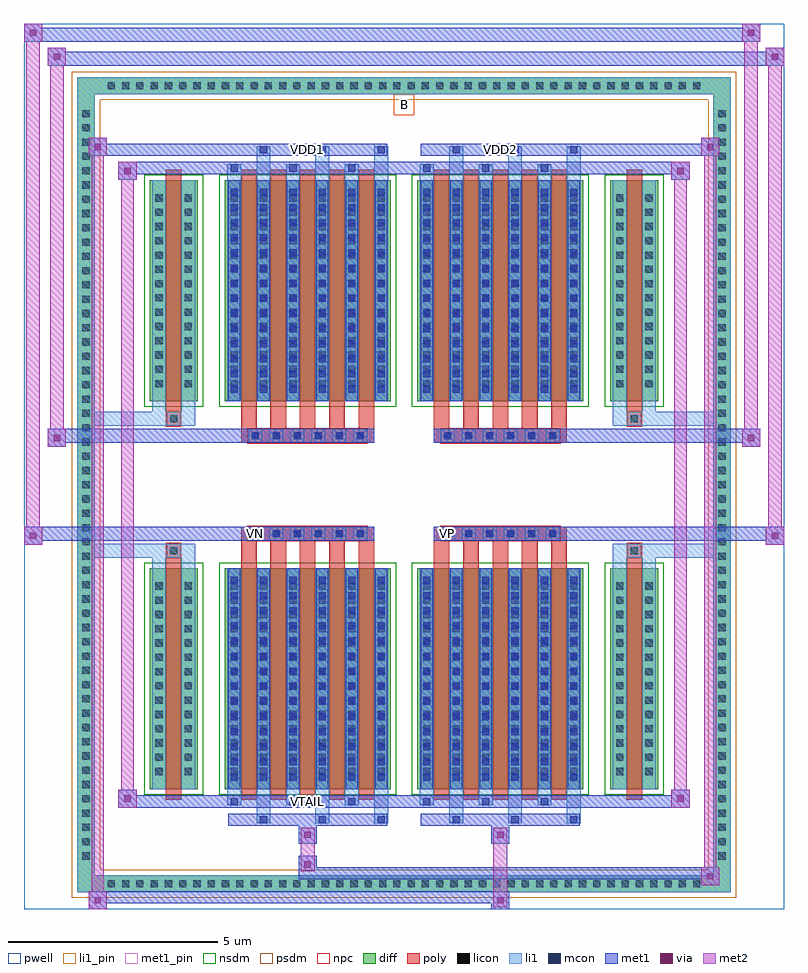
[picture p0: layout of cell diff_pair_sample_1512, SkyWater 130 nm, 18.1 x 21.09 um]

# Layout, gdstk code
import gdstk
lib = gdstk.Library(unit=1e-6, precision=5e-09)
def R(c, l, rs):  # rectangles x0, y0, x1, y1
    for r in rs: c.add(gdstk.rectangle(r[:2], r[2:], *l))
def A(c, l, x, y, w, h, nx, ny, dx, dy):  # array of equal rectangles
    R(c, l, [(x+i*dx, y+j*dy, x+i*dx+w, y+j*dy+h) for i in range(nx) for j in range(ny)])
def P(c, l, *ps):  # polygons
    for p in ps: c.add(gdstk.Polygon(p, *l))
pwell = (64, 44)
diff = (65, 20)
poly = (66, 20)
licon = (66, 44)
li1_pin = (67, 16)
li1 = (67, 20)
mcon = (67, 44)
met1_pin = (68, 16)
met1 = (68, 20)
via = (68, 44)
met2 = (69, 20)
nsdm = (93, 44)
psdm = (94, 20)
npc = (95, 20)

diff_pair_sample_1512 = lib.new_cell('diff_pair_sample_1512')
R(diff_pair_sample_1512, pwell, [(-9.05,-10.11,9.05,10.98), (-6.37,-8.3,-0.01,-0.8), (0.01,-8.3,6.37,-0.8), (-6.37,0.8,-0.01,8.3), (0.01,0.8,6.37,8.3)])
A(diff_pair_sample_1512, diff, -7.175, -9.71, 0.41, 0.41, 42, 2, 0.34, 19.01)
A(diff_pair_sample_1512, diff, -7.78, -9.045, 0.41, 0.41, 1, 53, 0, 0.34)
A(diff_pair_sample_1512, diff, 7.37, -9.045, 0.41, 0.41, 1, 53, 0, 0.34)
R(diff_pair_sample_1512, diff, [(-7.175,-9.71,7.175,-9.3), (-7.78,-9.045,-7.37,9.045), (7.37,-9.045,7.78,9.045), (-6.06,-7.255,-4.91,-1.985), (-4.27,-7.255,-0.32,-1.985), (0.32,-7.255,4.27,-1.985), (4.91,-7.255,6.06,-1.985), (-6.06,1.985,-4.91,7.255), (-4.27,1.985,-0.32,7.255), (0.32,1.985,4.27,7.255), (4.91,1.985,6.06,7.255), (-7.175,9.3,7.175,9.71)])
P(diff_pair_sample_1512, diff, [(7.78,9.71),(-7.78,9.71),(-7.78,-9.3),(-7.37,-9.3),(-7.37,9.3),(7.37,9.3),(7.37,-9.3),(-7.37,-9.3),(-7.78,-9.3),(-7.78,-9.71),(7.78,-9.71)])
A(diff_pair_sample_1512, poly, -3.88, -7.505, 0.37, 5.77, 5, 2, 0.7, 9.24)
A(diff_pair_sample_1512, poly, 0.71, -7.505, 0.37, 5.77, 5, 2, 0.7, 9.24)
A(diff_pair_sample_1512, poly, -3.88, -1.735, 0.37, 0.405, 5, 2, 0.7, 3.065)
A(diff_pair_sample_1512, poly, 0.71, -1.735, 0.37, 0.405, 5, 2, 0.7, 3.065)
A(diff_pair_sample_1512, poly, -3.71, -1.33, 0.33, 0.33, 6, 2, 0.5, 2.33)
A(diff_pair_sample_1512, poly, 0.88, -1.33, 0.33, 0.33, 6, 2, 0.5, 2.33)
R(diff_pair_sample_1512, poly, [(-5.67,-7.505,-5.3,-1.735), (5.3,-7.505,5.67,-1.735), (-5.65,-1.735,-5.32,-1.405), (-5.65,-1.735,-5.32,-1.405), (5.32,-1.735,5.65,-1.405), (5.32,-1.735,5.65,-1.405), (-3.88,-1.33,-0.71,-1), (0.71,-1.33,3.88,-1), (-3.88,1,-0.71,1.33), (0.71,1,3.88,1.33), (-5.65,1.405,-5.32,1.735), (-5.65,1.405,-5.32,1.735), (5.32,1.405,5.65,1.735), (5.32,1.405,5.65,1.735), (-5.67,1.735,-5.3,7.505), (5.3,1.735,5.67,7.505)])
A(diff_pair_sample_1512, licon, -7.055, -9.59, 0.17, 0.17, 42, 2, 0.34, 19.01)
A(diff_pair_sample_1512, licon, -7.66, -8.925, 0.17, 0.17, 1, 53, 0, 0.34)
A(diff_pair_sample_1512, licon, 7.49, -8.925, 0.17, 0.17, 1, 53, 0, 0.34)
A(diff_pair_sample_1512, licon, -5.92, -6.915, 0.17, 0.17, 1, 14, 0, 0.34)
A(diff_pair_sample_1512, licon, -5.22, -6.915, 0.17, 0.17, 1, 14, 0, 0.34)
A(diff_pair_sample_1512, licon, -4.13, -6.915, 0.17, 0.17, 6, 14, 0.7, 0.34)
A(diff_pair_sample_1512, licon, 0.46, -6.915, 0.17, 0.17, 6, 14, 0.7, 0.34)
A(diff_pair_sample_1512, licon, 5.05, -6.915, 0.17, 0.17, 1, 14, 0, 0.34)
A(diff_pair_sample_1512, licon, 5.75, -6.915, 0.17, 0.17, 1, 14, 0, 0.34)
A(diff_pair_sample_1512, licon, -3.63, -1.25, 0.17, 0.17, 6, 2, 0.5, 2.33)
A(diff_pair_sample_1512, licon, 0.96, -1.25, 0.17, 0.17, 6, 2, 0.5, 2.33)
A(diff_pair_sample_1512, licon, -5.92, 2.325, 0.17, 0.17, 1, 14, 0, 0.34)
A(diff_pair_sample_1512, licon, -5.22, 2.325, 0.17, 0.17, 1, 14, 0, 0.34)
A(diff_pair_sample_1512, licon, -4.13, 2.325, 0.17, 0.17, 6, 14, 0.7, 0.34)
A(diff_pair_sample_1512, licon, 0.46, 2.325, 0.17, 0.17, 6, 14, 0.7, 0.34)
A(diff_pair_sample_1512, licon, 5.05, 2.325, 0.17, 0.17, 1, 14, 0, 0.34)
A(diff_pair_sample_1512, licon, 5.75, 2.325, 0.17, 0.17, 1, 14, 0, 0.34)
R(diff_pair_sample_1512, licon, [(-5.57,-1.655,-5.4,-1.485), (5.4,-1.655,5.57,-1.485), (-5.57,1.485,-5.4,1.655), (5.4,1.485,5.57,1.655)])
R(diff_pair_sample_1512, li1_pin, [(-0.25,8.8,0.25,9.3)])
A(diff_pair_sample_1512, li1, -7.135, -9.67, 0.33, 0.33, 42, 2, 0.34, 19.01)
A(diff_pair_sample_1512, li1, -7.74, -9.005, 0.33, 0.33, 1, 53, 0, 0.34)
A(diff_pair_sample_1512, li1, 7.41, -9.005, 0.33, 0.33, 1, 53, 0, 0.34)
A(diff_pair_sample_1512, li1, -3.51, -8.06, 0.33, 0.805, 3, 2, 1.4, 15.315)
A(diff_pair_sample_1512, li1, -3.43, -8.06, 0.17, 0.17, 3, 2, 1.4, 15.95)
A(diff_pair_sample_1512, li1, 1.08, -8.06, 0.33, 0.805, 3, 2, 1.4, 15.315)
A(diff_pair_sample_1512, li1, 1.16, -8.06, 0.17, 0.17, 3, 2, 1.4, 15.95)
A(diff_pair_sample_1512, li1, -4.21, -7.63, 0.33, 0.375, 3, 2, 1.4, 14.885)
A(diff_pair_sample_1512, li1, -4.13, -7.63, 0.17, 0.17, 3, 2, 1.4, 15.09)
A(diff_pair_sample_1512, li1, 0.38, -7.63, 0.33, 0.375, 3, 2, 1.4, 14.885)
A(diff_pair_sample_1512, li1, 0.46, -7.63, 0.17, 0.17, 3, 2, 1.4, 15.09)
A(diff_pair_sample_1512, li1, -4.21, -7.255, 0.33, 5.27, 6, 2, 0.7, 9.24)
A(diff_pair_sample_1512, li1, 0.38, -7.255, 0.33, 5.27, 6, 2, 0.7, 9.24)
A(diff_pair_sample_1512, li1, -4.13, -7.045, 0.17, 0.17, 6, 14, 0.7, 0.36)
A(diff_pair_sample_1512, li1, -4.13, -7.045, 0.17, 4.85, 6, 2, 0.7, 9.24)
A(diff_pair_sample_1512, li1, 0.46, -7.045, 0.17, 0.17, 6, 14, 0.7, 0.36)
A(diff_pair_sample_1512, li1, 0.46, -7.045, 0.17, 4.85, 6, 2, 0.7, 9.24)
A(diff_pair_sample_1512, li1, -6, -6.995, 0.33, 0.33, 1, 14, 0, 0.34)
A(diff_pair_sample_1512, li1, -5.3, -6.995, 0.33, 0.33, 1, 14, 0, 0.34)
A(diff_pair_sample_1512, li1, -4.21, -6.995, 0.33, 0.33, 6, 14, 0.7, 0.34)
A(diff_pair_sample_1512, li1, 0.38, -6.995, 0.33, 0.33, 6, 14, 0.7, 0.34)
A(diff_pair_sample_1512, li1, 4.97, -6.995, 0.33, 0.33, 1, 14, 0, 0.34)
A(diff_pair_sample_1512, li1, 5.67, -6.995, 0.33, 0.33, 1, 14, 0, 0.34)
A(diff_pair_sample_1512, li1, -3.71, -1.33, 0.33, 0.33, 6, 2, 0.5, 2.33)
A(diff_pair_sample_1512, li1, 0.88, -1.33, 0.33, 0.33, 6, 2, 0.5, 2.33)
A(diff_pair_sample_1512, li1, -4.13, 2.195, 0.17, 0.17, 6, 14, 0.7, 0.36)
A(diff_pair_sample_1512, li1, 0.46, 2.195, 0.17, 0.17, 6, 14, 0.7, 0.36)
A(diff_pair_sample_1512, li1, -6, 2.245, 0.33, 0.33, 1, 14, 0, 0.34)
A(diff_pair_sample_1512, li1, -5.3, 2.245, 0.33, 0.33, 1, 14, 0, 0.34)
A(diff_pair_sample_1512, li1, -4.21, 2.245, 0.33, 0.33, 6, 14, 0.7, 0.34)
A(diff_pair_sample_1512, li1, 0.38, 2.245, 0.33, 0.33, 6, 14, 0.7, 0.34)
A(diff_pair_sample_1512, li1, 4.97, 2.245, 0.33, 0.33, 1, 14, 0, 0.34)
A(diff_pair_sample_1512, li1, 5.67, 2.245, 0.33, 0.33, 1, 14, 0, 0.34)
R(diff_pair_sample_1512, li1, [(-7.78,-9.71,-7.37,-9.3), (-7.78,-9.71,-7.37,-9.3), (-7.37,-9.71,7.37,-9.3), (7.37,-9.71,7.78,-9.3), (7.37,-9.71,7.78,-9.3), (-7.78,-9.3,-7.37,9.3), (7.37,-9.3,7.78,9.3), (-6,-7.255,-5.67,-1.985), (-5.3,-7.255,-4.97,-1.985), (4.97,-7.255,5.3,-1.985), (5.67,-7.255,6,-1.985), (-6,-1.985,-5.67,-1.405), (-5.3,-1.985,-4.97,-1.405), (4.97,-1.985,5.3,-1.405), (5.67,-1.985,6,-1.405), (-7.78,-1.735,-5.65,-1.405), (-6,-1.735,-5.65,-1.405), (-5.65,-1.735,-5.32,-1.405), (-5.32,-1.735,-4.97,-1.405), (4.97,-1.735,5.32,-1.405), (5.32,-1.735,5.65,-1.405), (5.32,-1.735,7.78,-1.405), (5.65,-1.735,6,-1.405), (-7.78,1.405,-5.65,1.735), (-6,1.405,-5.65,1.735), (-6,1.405,-5.67,1.985), (-5.65,1.405,-5.32,1.735), (-5.32,1.405,-4.97,1.735), (-5.3,1.405,-4.97,1.985), (4.97,1.405,5.32,1.735), (4.97,1.405,5.3,1.985), (5.32,1.405,5.65,1.735), (5.32,1.405,7.78,1.735), (5.65,1.405,6,1.735), (5.67,1.405,6,1.985), (-6,1.985,-5.67,7.255), (-5.3,1.985,-4.97,7.255), (4.97,1.985,5.3,7.255), (5.67,1.985,6,7.255), (-7.78,9.3,-7.37,9.71), (-7.78,9.3,-7.37,9.71), (-7.37,9.3,7.37,9.71), (7.37,9.3,7.78,9.71), (7.37,9.3,7.78,9.71)])
A(diff_pair_sample_1512, mcon, -3.43, -8.06, 0.17, 0.17, 3, 2, 1.4, 15.95)
A(diff_pair_sample_1512, mcon, 1.16, -8.06, 0.17, 0.17, 3, 2, 1.4, 15.95)
A(diff_pair_sample_1512, mcon, -4.13, -7.63, 0.17, 0.17, 3, 2, 1.4, 15.09)
A(diff_pair_sample_1512, mcon, 0.46, -7.63, 0.17, 0.17, 3, 2, 1.4, 15.09)
A(diff_pair_sample_1512, mcon, -4.13, -7.045, 0.17, 0.17, 6, 14, 0.7, 0.36)
A(diff_pair_sample_1512, mcon, 0.46, -7.045, 0.17, 0.17, 6, 14, 0.7, 0.36)
A(diff_pair_sample_1512, mcon, -3.63, -1.25, 0.17, 0.17, 6, 2, 0.5, 2.33)
A(diff_pair_sample_1512, mcon, 0.96, -1.25, 0.17, 0.17, 6, 2, 0.5, 2.33)
A(diff_pair_sample_1512, mcon, -4.13, 2.195, 0.17, 0.17, 6, 14, 0.7, 0.36)
A(diff_pair_sample_1512, mcon, 0.46, 2.195, 0.17, 0.17, 6, 14, 0.7, 0.36)
R(diff_pair_sample_1512, met1_pin, [(-2.43,-7.67,-2.16,-7.4), (-3.68,-1.29,-3.41,-1.02), (0.91,-1.29,1.18,-1.02), (-2.43,7.85,-2.16,8.12), (2.16,7.85,2.43,8.12)])
A(diff_pair_sample_1512, met1, -3.49, -8.12, 0.29, 0.29, 3, 2, 1.4, 15.95)
A(diff_pair_sample_1512, met1, 1.1, -8.12, 0.29, 0.29, 3, 2, 1.4, 15.95)
A(diff_pair_sample_1512, met1, -4.19, -7.69, 0.29, 0.29, 3, 2, 1.4, 15.09)
A(diff_pair_sample_1512, met1, 0.4, -7.69, 0.29, 0.29, 3, 2, 1.4, 15.09)
A(diff_pair_sample_1512, met1, -4.19, -7.255, 0.29, 5.27, 6, 2, 0.7, 9.24)
A(diff_pair_sample_1512, met1, 0.4, -7.255, 0.29, 5.27, 6, 2, 0.7, 9.24)
A(diff_pair_sample_1512, met1, -4.19, -7.105, 0.29, 0.29, 6, 14, 0.7, 0.36)
A(diff_pair_sample_1512, met1, 0.4, -7.105, 0.29, 0.29, 6, 14, 0.7, 0.36)
A(diff_pair_sample_1512, met1, -3.69, -1.31, 0.29, 0.29, 6, 2, 0.5, 2.33)
A(diff_pair_sample_1512, met1, 0.9, -1.31, 0.29, 0.29, 6, 2, 0.5, 2.33)
A(diff_pair_sample_1512, met1, -4.19, 2.135, 0.29, 0.29, 6, 14, 0.7, 0.36)
A(diff_pair_sample_1512, met1, 0.4, 2.135, 0.29, 0.29, 6, 14, 0.7, 0.36)
R(diff_pair_sample_1512, met1, [(-7.51,-10.11,-7.08,-9.68), (2.08,-10.11,2.51,-9.68), (-7.51,-9.97,2.51,-9.68), (7.08,-9.54,7.51,-9.11), (-2.51,-9.4,7.51,-9.11), (-2.51,-9.26,-2.08,-8.83), (-2.51,-8.55,-2.08,-8.12), (2.08,-8.55,2.51,-8.12), (-4.19,-8.12,-0.4,-7.83), (0.4,-8.12,4.19,-7.83), (-6.8,-7.69,-6.37,-7.26), (-6.8,-7.69,-4.19,-7.4), (-4.19,-7.69,-0.4,-7.4), (-0.4,-7.69,0.4,-7.4), (0.4,-7.69,4.19,-7.4), (4.19,-7.69,6.8,-7.4), (6.37,-7.69,6.8,-7.26), (-9.05,-1.43,-8.62,-1), (8.62,-1.43,9.05,-1), (-9.05,-1.33,-0.71,-1), (-3.88,-1.33,-0.71,-1), (0.71,-1.33,3.88,-1), (0.71,-1.33,9.05,-1), (-8.48,0.9,-8.05,1.33), (8.05,0.9,8.48,1.33), (-8.48,1,-3.88,1.33), (-3.88,1,-0.71,1.33), (0.71,1,3.88,1.33), (3.88,1,8.48,1.33), (-6.8,7.26,-6.37,7.69), (6.37,7.26,6.8,7.69), (-6.8,7.4,-4.19,7.69), (-4.19,7.4,-0.4,7.69), (-0.4,7.4,0.4,7.69), (0.4,7.4,4.19,7.69), (4.19,7.4,6.8,7.69), (-7.51,7.83,-7.08,8.26), (-7.51,7.83,-4.19,8.12), (-4.19,7.83,-0.4,8.12), (0.4,7.83,4.19,8.12), (4.19,7.83,7.51,8.12), (7.08,7.83,7.51,8.26), (-8.48,9.98,-8.05,10.41), (-8.48,9.98,-6.37,10.31), (-6.37,9.98,6.37,10.31), (6.37,9.98,9.05,10.31), (8.62,9.98,9.05,10.41), (-9.05,10.55,-8.62,10.98), (-9.05,10.55,-6.37,10.88), (-6.37,10.55,6.37,10.88), (6.37,10.55,8.48,10.88), (8.05,10.55,8.48,10.98)])
R(diff_pair_sample_1512, via, [(-7.37,-9.97,-7.22,-9.82), (2.22,-9.97,2.37,-9.82), (7.22,-9.4,7.37,-9.25), (-2.37,-9.12,-2.22,-8.97), (-2.37,-8.41,-2.22,-8.26), (2.22,-8.41,2.37,-8.26), (-6.66,-7.55,-6.51,-7.4), (6.51,-7.55,6.66,-7.4), (-8.91,-1.29,-8.76,-1.14), (8.76,-1.29,8.91,-1.14), (-8.34,1.04,-8.19,1.19), (8.19,1.04,8.34,1.19), (-6.66,7.4,-6.51,7.55), (6.51,7.4,6.66,7.55), (-7.37,7.97,-7.22,8.12), (7.22,7.97,7.37,8.12), (-8.34,10.12,-8.19,10.27), (8.76,10.12,8.91,10.27), (-8.91,10.69,-8.76,10.84), (8.19,10.69,8.34,10.84)])
R(diff_pair_sample_1512, met2, [(-7.51,-10.11,-7.08,-9.68), (-7.44,-10.11,-7.15,8.26), (-7.15,-10.11,-7.08,-9.68), (-7.46,-10.06,-7.13,-9.73), (2.13,-10.06,2.46,-9.73), (2.13,-9.73,2.46,-8.5), (7.08,-9.54,7.51,-9.11), (7.15,-9.54,7.44,8.26), (7.44,-9.54,7.51,-9.11), (7.13,-9.49,7.46,-9.16), (-2.46,-9.21,-2.13,-8.88), (-2.46,-8.88,-2.13,-8.5), (-2.46,-8.5,-2.13,-8.17), (2.13,-8.5,2.46,-8.17), (-6.8,-7.69,-6.37,-7.26), (-6.73,-7.69,-6.44,7.69), (-6.44,-7.69,-6.37,-7.26), (6.37,-7.69,6.8,-7.26), (6.44,-7.69,6.73,7.69), (6.73,-7.69,6.8,-7.26), (-6.75,-7.64,-6.42,-7.31), (6.42,-7.64,6.75,-7.31), (-9.05,-1.43,-8.62,-1), (-9,-1.43,-8.67,10.98), (-8.67,-1.43,-8.62,-1), (8.62,-1.43,9.05,-1), (8.67,-1.43,9,10.41), (9,-1.43,9.05,-1), (-9,-1.38,-8.67,-1.05), (8.67,-1.38,9,-1.05), (-8.48,0.9,-8.05,1.33), (-8.43,0.9,-8.1,10.41), (-8.1,0.9,-8.05,1.33), (8.05,0.9,8.48,1.33), (8.1,0.9,8.43,10.98), (8.43,0.9,8.48,1.33), (-8.43,0.95,-8.1,1.28), (8.1,0.95,8.43,1.28), (-6.8,7.26,-6.37,7.69), (-6.44,7.26,-6.37,7.69), (6.37,7.26,6.8,7.69), (6.73,7.26,6.8,7.69), (-6.75,7.31,-6.42,7.64), (6.42,7.31,6.75,7.64), (-7.51,7.83,-7.08,8.26), (-7.15,7.83,-7.08,8.26), (7.08,7.83,7.51,8.26), (7.44,7.83,7.51,8.26), (-7.46,7.88,-7.13,8.21), (7.13,7.88,7.46,8.21), (-8.48,9.98,-8.05,10.41), (-8.1,9.98,-8.05,10.41), (8.62,9.98,9.05,10.41), (9,9.98,9.05,10.41), (-8.43,10.03,-8.1,10.36), (8.67,10.03,9,10.36), (-9.05,10.55,-8.62,10.98), (-8.67,10.55,-8.62,10.98), (8.05,10.55,8.48,10.98), (8.43,10.55,8.48,10.98), (-9,10.6,-8.67,10.93), (8.1,10.6,8.43,10.93)])
R(diff_pair_sample_1512, nsdm, [(-6.19,-7.385,-4.78,-1.855), (-4.4,-7.385,-0.19,-1.855), (0.19,-7.385,4.4,-1.855), (4.78,-7.385,6.19,-1.855), (-6.19,1.855,-4.78,7.385), (-4.4,1.855,-0.19,7.385), (0.19,1.855,4.4,7.385), (4.78,1.855,6.19,7.385)])
P(diff_pair_sample_1512, psdm, [(7.91,9.84),(-7.91,9.84),(-7.91,-9.17),(-7.24,-9.17),(-7.24,9.17),(7.24,9.17),(7.24,-9.17),(-7.24,-9.17),(-7.91,-9.17),(-7.91,-9.84),(7.91,-9.84)])
A(diff_pair_sample_1512, npc, -3.73, -1.35, 0.37, 0.37, 6, 2, 0.5, 2.33)
A(diff_pair_sample_1512, npc, 0.86, -1.35, 0.37, 0.37, 6, 2, 0.5, 2.33)
R(diff_pair_sample_1512, npc, [(-5.67,-1.755,-5.3,-1.385), (5.3,-1.755,5.67,-1.385), (-3.73,-1.35,-2.86,-0.98), (-3.73,-1.35,-2.86,-0.98), (-3.23,-1.35,-2.36,-0.98), (-3.23,-1.35,-2.36,-0.98), (-2.73,-1.35,-1.86,-0.98), (-2.73,-1.35,-1.86,-0.98), (-2.23,-1.35,-1.36,-0.98), (-2.23,-1.35,-1.36,-0.98), (-1.73,-1.35,-0.86,-0.98), (-1.73,-1.35,-0.86,-0.98), (0.86,-1.35,1.73,-0.98), (0.86,-1.35,1.73,-0.98), (1.36,-1.35,2.23,-0.98), (1.36,-1.35,2.23,-0.98), (1.86,-1.35,2.73,-0.98), (1.86,-1.35,2.73,-0.98), (2.36,-1.35,3.23,-0.98), (2.36,-1.35,3.23,-0.98), (2.86,-1.35,3.73,-0.98), (2.86,-1.35,3.73,-0.98), (-3.73,0.98,-2.86,1.35), (-3.73,0.98,-2.86,1.35), (-3.23,0.98,-2.36,1.35), (-3.23,0.98,-2.36,1.35), (-2.73,0.98,-1.86,1.35), (-2.73,0.98,-1.86,1.35), (-2.23,0.98,-1.36,1.35), (-2.23,0.98,-1.36,1.35), (-1.73,0.98,-0.86,1.35), (-1.73,0.98,-0.86,1.35), (0.86,0.98,1.73,1.35), (0.86,0.98,1.73,1.35), (1.36,0.98,2.23,1.35), (1.36,0.98,2.23,1.35), (1.86,0.98,2.73,1.35), (1.86,0.98,2.73,1.35), (2.36,0.98,3.23,1.35), (2.36,0.98,3.23,1.35), (2.86,0.98,3.73,1.35), (2.86,0.98,3.73,1.35), (-5.67,1.385,-5.3,1.755), (5.3,1.385,5.67,1.755)])
diff_pair_sample_1512.add(gdstk.Label('VTAIL', (-2.295,-7.535), layer=68, texttype=5))
diff_pair_sample_1512.add(gdstk.Label('VN', (-3.545,-1.155), layer=68, texttype=5))
diff_pair_sample_1512.add(gdstk.Label('VP', (1.045,-1.155), layer=68, texttype=5))
diff_pair_sample_1512.add(gdstk.Label('B', (0,9.05), layer=67, texttype=5))
diff_pair_sample_1512.add(gdstk.Label('VDD2', (2.295,7.985), layer=68, texttype=5))
diff_pair_sample_1512.add(gdstk.Label('VDD1', (-2.295,7.985), layer=68, texttype=5))

lib.write_gds('diff_pair_sample_1512.gds')
